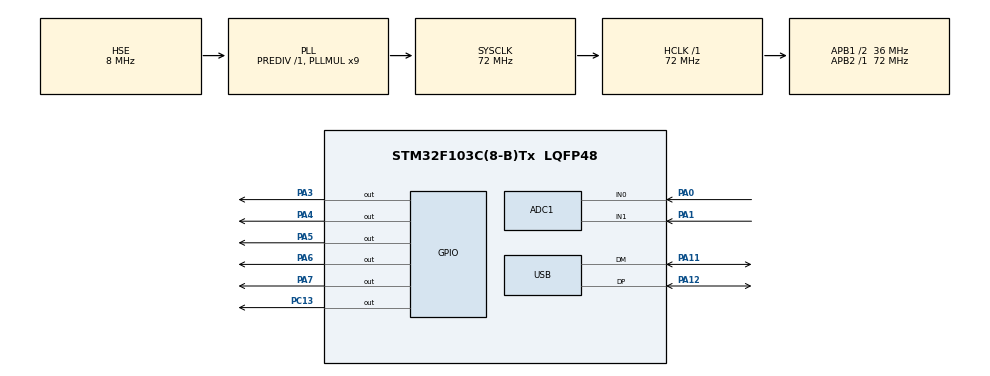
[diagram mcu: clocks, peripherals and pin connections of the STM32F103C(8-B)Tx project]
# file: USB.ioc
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ADC1.Channel-0\#ChannelRegularConversion=ADC_CHANNEL_0
ADC1.NbrOfConversionFlag=1
ADC1.Rank-0\#ChannelRegularConversion=1
ADC1.SamplingTime-0\#ChannelRegularConversion=ADC_SAMPLETIME_1CYCLE_5
ADC1.master=1
Mcu.Family=STM32F1
Mcu.Name=STM32F103C(8-B)Tx
Mcu.Package=LQFP48
NVIC.PriorityGroup=NVIC_PRIORITYGROUP_4
NVIC.USB_LP_CAN1_RX0_IRQn=true\:0\:0\:false\:false\:true\:false\:true
PA0-WKUP.Signal=ADCx_IN0
PA1.Signal=ADCx_IN1
PA11.Mode=Device
PA11.Signal=USB_DM
PA12.Mode=Device
PA12.Signal=USB_DP
PA13.Mode=Serial_Wire
PA13.Signal=SYS_JTMS-SWDIO
PA14.Mode=Serial_Wire
PA14.Signal=SYS_JTCK-SWCLK
PA3.Signal=GPIO_Output
PA4.Signal=GPIO_Output
PA5.Signal=GPIO_Output
PA6.Signal=GPIO_Output
PA7.Signal=GPIO_Output
PC13-TAMPER-RTC.Signal=GPIO_Output
PC14-OSC32_IN.Signal=RCC_OSC32_IN
PC15-OSC32_OUT.Signal=RCC_OSC32_OUT
PD0-OSC_IN.Mode=HSE-External-Oscillator
PD0-OSC_IN.Signal=RCC_OSC_IN
PD1-OSC_OUT.Mode=HSE-External-Oscillator
PD1-OSC_OUT.Signal=RCC_OSC_OUT
ProjectManager.HeapSize=0x200
ProjectManager.StackSize=0x400
ProjectManager.TargetToolchain=STM32CubeIDE
RCC.ADCPresc=RCC_ADCPCLK2_DIV6
RCC.AHBFreq_Value=72000000
RCC.APB1CLKDivider=RCC_HCLK_DIV2
RCC.APB1Freq_Value=36000000
RCC.APB1TimFreq_Value=72000000
RCC.APB2Freq_Value=72000000
RCC.APB2TimFreq_Value=72000000
RCC.HCLKFreq_Value=72000000
RCC.PLLMUL=RCC_PLL_MUL9
RCC.SYSCLKFreq_VALUE=72000000
RCC.SYSCLKSource=RCC_SYSCLKSOURCE_PLLCLK
RCC.USBFreq_Value=48000000
RCC.USBPrescaler=RCC_USBCLKSOURCE_PLL_DIV1_5
SH.ADCx_IN0.0=ADC1_IN0,IN0
SH.ADCx_IN1.0=ADC1_IN1,IN1
USB_DEVICE.CLASS_NAME_FS=CDC
USB_DEVICE.VirtualMode=Cdc
USB_DEVICE.VirtualModeFS=Cdc_FS
VP_USB_DEVICE_VS_USB_DEVICE_CDC_FS.Mode=CDC_FS
board=custom

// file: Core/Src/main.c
/* USER CODE BEGIN Header */
/**
  ******************************************************************************
  * @file           : main.c
  * @brief          : Main program body
  ******************************************************************************
  * @attention
  *
  * <h2><center>&copy; Copyright (c) 2024 STMicroelectronics.
  * All rights reserved.</center></h2>
  *
  * This software component is licensed by ST under BSD 3-Clause license,
  * the "License"; You may not use this file except in compliance with the
  * License. You may obtain a copy of the License at:
  *                        opensource.org/licenses/BSD-3-Clause
  *
  ******************************************************************************
  */
/* USER CODE END Header */
#include "main.h"
#include "usb_device.h"

ADC_HandleTypeDef hadc1;

/* USER CODE BEGIN PV */

uint8_t gUSBRxBuffer[255];
/* USER CODE END PV */

void SystemClock_Config(void);
static void MX_GPIO_Init(void);
static void MX_ADC1_Init(void);
/* USER CODE BEGIN PFP */
static void ADC1_Set_Channel(uint32_t channel);
/* USER CODE END PFP */

int main(void)
{
  /* USER CODE BEGIN 1 */
int32_t read[2];
const int32_t min_read=410;
const int32_t max_read=3677;
uint32_t buffer[255];
uint32_t count=0;
  /* USER CODE END 1 */

  /* MCU Configuration--------------------------------------------------------*/

  /* Reset of all peripherals, Initializes the Flash interface and the Systick. */
  HAL_Init();

  /* Configure the system clock */
  SystemClock_Config();

  /* Initialize all configured peripherals */
  MX_GPIO_Init();
  MX_USB_DEVICE_Init();
  MX_ADC1_Init();

  /* Infinite loop */
  /* USER CODE BEGIN WHILE */

  while (1)
  {
	  HAL_ADC_Start(&hadc1);
	  HAL_ADC_PollForConversion(&hadc1,100);
	  read[0] -  HAL_ADC_GetValue(&hadc1);

	  count++;
	  if (count==50)
	  {
	  sprintf(buffer,"tensao no ADC %d mV", (read[0]*3300)/4095);
	  CDC_Transmit_FS(buffer,strlen(buffer));
	  count=0;
	  }

	  if (gUSBRxBuffer[0]!=0)
	  {
		  switch(gUSBRxBuffer[0])
		  {
		  	case 103:
		 	{
		 	  sprintf(buffer,"tecla pressionada g\r\n", (read[0]*3300)/4095);
		 	  CDC_Transmit_FS(buffer,strlen(buffer));
			  break;
		 	}
		  	default:
		  	{
		  	  sprintf(buffer,"Comando enviado não reconhecido \r\n", (read[0]*3300)/4095);
		  	  CDC_Transmit_FS(buffer,strlen(buffer));
		  	  break;
		  	}
		  }
		  memset (gUSBRxBuffer,0,255);
	  }
    /* USER CODE END WHILE */

  }
}

void SystemClock_Config(void)
{
  RCC_OscInitTypeDef RCC_OscInitStruct = {0};
  RCC_ClkInitTypeDef RCC_ClkInitStruct = {0};
  RCC_PeriphCLKInitTypeDef PeriphClkInit = {0};

  /** Initializes the RCC Oscillators according to the specified parameters
  * in the RCC_OscInitTypeDef structure.
  */
  RCC_OscInitStruct.OscillatorType = RCC_OSCILLATORTYPE_HSE;
  RCC_OscInitStruct.HSEState = RCC_HSE_ON;
  RCC_OscInitStruct.HSEPredivValue = RCC_HSE_PREDIV_DIV1;
  RCC_OscInitStruct.HSIState = RCC_HSI_ON;
  RCC_OscInitStruct.PLL.PLLState = RCC_PLL_ON;
  RCC_OscInitStruct.PLL.PLLSource = RCC_PLLSOURCE_HSE;
  RCC_OscInitStruct.PLL.PLLMUL = RCC_PLL_MUL9;
  if (HAL_RCC_OscConfig(&RCC_OscInitStruct) != HAL_OK)
  {
    Error_Handler();
  }
  /** Initializes the CPU, AHB and APB buses clocks
  */
  RCC_ClkInitStruct.ClockType = RCC_CLOCKTYPE_HCLK|RCC_CLOCKTYPE_SYSCLK
                              |RCC_CLOCKTYPE_PCLK1|RCC_CLOCKTYPE_PCLK2;
  RCC_ClkInitStruct.SYSCLKSource = RCC_SYSCLKSOURCE_PLLCLK;
  RCC_ClkInitStruct.AHBCLKDivider = RCC_SYSCLK_DIV1;
  RCC_ClkInitStruct.APB1CLKDivider = RCC_HCLK_DIV2;
  RCC_ClkInitStruct.APB2CLKDivider = RCC_HCLK_DIV1;

  if (HAL_RCC_ClockConfig(&RCC_ClkInitStruct, FLASH_LATENCY_2) != HAL_OK)
  {
    Error_Handler();
  }
  PeriphClkInit.PeriphClockSelection = RCC_PERIPHCLK_ADC|RCC_PERIPHCLK_USB;
  PeriphClkInit.AdcClockSelection = RCC_ADCPCLK2_DIV6;
  PeriphClkInit.UsbClockSelection = RCC_USBCLKSOURCE_PLL_DIV1_5;
  if (HAL_RCCEx_PeriphCLKConfig(&PeriphClkInit) != HAL_OK)
  {
    Error_Handler();
  }
}

static void MX_ADC1_Init(void)
{

  ADC_ChannelConfTypeDef sConfig = {0};

  /** Common config
  */
  hadc1.Instance = ADC1;
  hadc1.Init.ScanConvMode = ADC_SCAN_DISABLE;
  hadc1.Init.ContinuousConvMode = DISABLE;
  hadc1.Init.DiscontinuousConvMode = DISABLE;
  hadc1.Init.ExternalTrigConv = ADC_SOFTWARE_START;
  hadc1.Init.DataAlign = ADC_DATAALIGN_RIGHT;
  hadc1.Init.NbrOfConversion = 1;
  if (HAL_ADC_Init(&hadc1) != HAL_OK)
  {
    Error_Handler();
  }
  /** Configure Regular Channel
  */
  sConfig.Channel = ADC_CHANNEL_0;
  sConfig.Rank = ADC_REGULAR_RANK_1;
  sConfig.SamplingTime = ADC_SAMPLETIME_1CYCLE_5;
  if (HAL_ADC_ConfigChannel(&hadc1, &sConfig) != HAL_OK)
  {
    Error_Handler();
  }

}

static void MX_GPIO_Init(void)
{
  GPIO_InitTypeDef GPIO_InitStruct = {0};

  /* GPIO Ports Clock Enable */
  __HAL_RCC_GPIOC_CLK_ENABLE();
  __HAL_RCC_GPIOD_CLK_ENABLE();
  __HAL_RCC_GPIOA_CLK_ENABLE();

  /*Configure GPIO pin Output Level */
  HAL_GPIO_WritePin(GPIOC, GPIO_PIN_13, GPIO_PIN_RESET);

  /*Configure GPIO pin Output Level */
  HAL_GPIO_WritePin(GPIOA, GPIO_PIN_3|GPIO_PIN_4|GPIO_PIN_5|GPIO_PIN_6
                          |GPIO_PIN_7, GPIO_PIN_RESET);

  /*Configure GPIO pin : PC13 */
  GPIO_InitStruct.Pin = GPIO_PIN_13;
  GPIO_InitStruct.Mode = GPIO_MODE_OUTPUT_PP;
  GPIO_InitStruct.Pull = GPIO_NOPULL;
  GPIO_InitStruct.Speed = GPIO_SPEED_FREQ_LOW;
  HAL_GPIO_Init(GPIOC, &GPIO_InitStruct);

  /*Configure GPIO pins : PA3 PA4 PA5 PA6
                           PA7 */
  GPIO_InitStruct.Pin = GPIO_PIN_3|GPIO_PIN_4|GPIO_PIN_5|GPIO_PIN_6
                          |GPIO_PIN_7;
  GPIO_InitStruct.Mode = GPIO_MODE_OUTPUT_PP;
  GPIO_InitStruct.Pull = GPIO_NOPULL;
  GPIO_InitStruct.Speed = GPIO_SPEED_FREQ_LOW;
  HAL_GPIO_Init(GPIOA, &GPIO_InitStruct);

}

void Error_Handler(void)
{
  __disable_irq();
  while (1)
  {
  }
}

#ifdef  USE_FULL_ASSERT
/**
  * @brief  Reports the name of the source file and the source line number
  *         where the assert_param error has occurred.
  * @param  file: pointer to the source file name
  * @param  line: assert_param error line source number
  * @retval None
  */
void assert_failed(uint8_t *file, uint32_t line)
{
  /* USER CODE BEGIN 6 */

		CDC_Transmit_FS(Buf, *Len);
				USBD_CDX_SetRxBuffer(&hUsbdDeviceFS, &amp; Buf[0]);
				USBD_CDC_ReceivePacket(&hUsbDeviceFS);

				return (USBD_OK);

  /* User can add his own implementation to report the file name and line number,
     ex: printf("Wrong parameters value: file %s on line %d\r\n", file, line) */
  /* USER CODE END 6 */
}
#endif /* USE_FULL_ASSERT */

/************************ (C) COPYRIGHT STMicroelectronics *****END OF FILE****/
